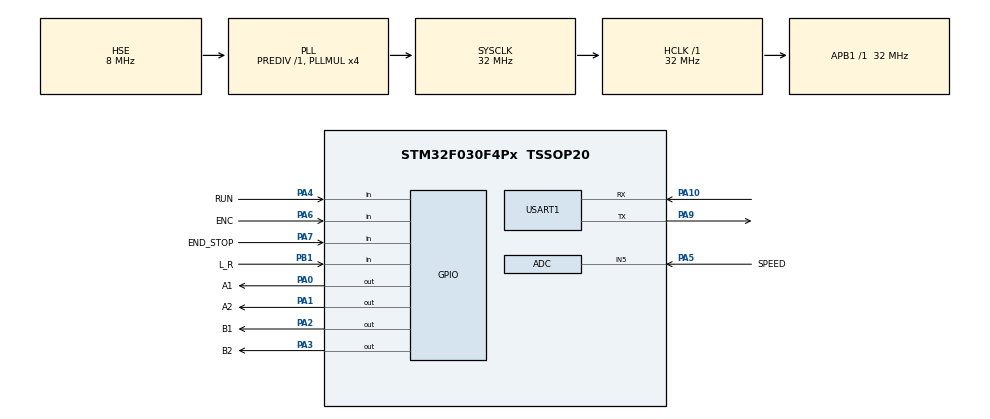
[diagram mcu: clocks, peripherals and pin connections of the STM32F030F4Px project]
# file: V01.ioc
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ADC.ClockPrescaler=ADC_CLOCK_ASYNC_DIV1
ADC.ContinuousConvMode=ENABLE
ADC.DMAContinuousRequests=DISABLE
ADC.DataAlign=ADC_DATAALIGN_RIGHT
ADC.DiscontinuousConvMode=DISABLE
ADC.EOCSelection=ADC_EOC_SINGLE_CONV
ADC.EnableAnalogWatchDog=false
ADC.ExternalTrigConvEdge=ADC_EXTERNALTRIGCONVEDGE_NONE
ADC.LowPowerAutoPowerOff=DISABLE
ADC.LowPowerAutoWait=DISABLE
ADC.Overrun=ADC_OVR_DATA_OVERWRITTEN
ADC.Resolution=ADC_RESOLUTION_12B
ADC.SamplingTime=ADC_SAMPLETIME_1CYCLE_5
ADC.ScanConvMode=ADC_SCAN_DIRECTION_FORWARD
Dma.ADC.0.Direction=DMA_PERIPH_TO_MEMORY
Dma.ADC.0.Instance=DMA1_Channel1
Dma.ADC.0.MemDataAlignment=DMA_MDATAALIGN_HALFWORD
Dma.ADC.0.MemInc=DMA_MINC_DISABLE
Dma.ADC.0.Mode=DMA_CIRCULAR
Dma.ADC.0.PeriphDataAlignment=DMA_PDATAALIGN_HALFWORD
Dma.ADC.0.PeriphInc=DMA_PINC_DISABLE
Dma.ADC.0.Priority=DMA_PRIORITY_LOW
Dma.Request0=ADC
Mcu.Family=STM32F0
Mcu.Name=STM32F030F4Px
Mcu.Package=TSSOP20
NVIC.DMA1_Channel1_IRQn=true\:0\:0\:false\:false\:true
PA0.GPIO_Label=A1
PA0.Signal=GPIO_Output
PA1.GPIO_Label=A2
PA1.Signal=GPIO_Output
PA10.Mode=Asynchronous
PA10.Signal=USART1_RX
PA13.Mode=Serial-WireDebug
PA13.Signal=SYS_SWDIO
PA14.Mode=Serial-WireDebug
PA14.Signal=SYS_SWCLK
PA2.GPIO_Label=B1
PA2.Signal=GPIO_Output
PA3.GPIO_Label=B2
PA3.Signal=GPIO_Output
PA4.GPIO_Label=RUN
PA4.Signal=GPIO_Input
PA5.GPIO_Label=SPEED
PA5.Mode=IN5
PA5.Signal=ADC_IN5
PA6.GPIO_Label=ENC
PA6.Signal=GPIO_Input
PA7.GPIO_Label=END_STOP
PA7.Signal=GPIO_Input
PA9.Mode=Asynchronous
PA9.Signal=USART1_TX
PB1.GPIO_Label=L_R
PB1.Signal=GPIO_Input
PF0-OSC_IN.Mode=HSE-External-Oscillator
PF0-OSC_IN.Signal=RCC_OSC_IN
PF1-OSC_OUT.Mode=HSE-External-Oscillator
PF1-OSC_OUT.Signal=RCC_OSC_OUT
ProjectManager.HeapSize=0x200
ProjectManager.StackSize=0x400
ProjectManager.TargetToolchain=SW4STM32
RCC.AHBFreq_Value=32000000
RCC.APB1Freq_Value=32000000
RCC.APB1TimFreq_Value=32000000
RCC.HCLKFreq_Value=32000000
RCC.HSIState=RCC_HSI_ON
RCC.PLLMUL=RCC_PLL_MUL4
RCC.PLLSourceVirtual=RCC_PLLSOURCE_HSE
RCC.SYSCLKFreq_VALUE=32000000
RCC.SYSCLKSource=RCC_SYSCLKSOURCE_PLLCLK
board=V01

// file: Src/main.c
/**
  ******************************************************************************
  * File Name          : main.c
  * Description        : Main program body
  ******************************************************************************
  *
  * COPYRIGHT(c) 2016 STMicroelectronics
  *
  * Redistribution and use in source and binary forms, with or without modification,
  * are permitted provided that the following conditions are met:
  *   1. Redistributions of source code must retain the above copyright notice,
  *      this list of conditions and the following disclaimer.
  *   2. Redistributions in binary form must reproduce the above copyright notice,
  *      this list of conditions and the following disclaimer in the documentation
  *      and/or other materials provided with the distribution.
  *   3. Neither the name of STMicroelectronics nor the names of its contributors
  *      may be used to endorse or promote products derived from this software
  *      without specific prior written permission.
  *
  * THIS SOFTWARE IS PROVIDED BY THE COPYRIGHT HOLDERS AND CONTRIBUTORS "AS IS"
  * AND ANY EXPRESS OR IMPLIED WARRANTIES, INCLUDING, BUT NOT LIMITED TO, THE
  * IMPLIED WARRANTIES OF MERCHANTABILITY AND FITNESS FOR A PARTICULAR PURPOSE ARE
  * DISCLAIMED. IN NO EVENT SHALL THE COPYRIGHT HOLDER OR CONTRIBUTORS BE LIABLE
  * FOR ANY DIRECT, INDIRECT, INCIDENTAL, SPECIAL, EXEMPLARY, OR CONSEQUENTIAL
  * DAMAGES (INCLUDING, BUT NOT LIMITED TO, PROCUREMENT OF SUBSTITUTE GOODS OR
  * SERVICES; LOSS OF USE, DATA, OR PROFITS; OR BUSINESS INTERRUPTION) HOWEVER
  * CAUSED AND ON ANY THEORY OF LIABILITY, WHETHER IN CONTRACT, STRICT LIABILITY,
  * OR TORT (INCLUDING NEGLIGENCE OR OTHERWISE) ARISING IN ANY WAY OUT OF THE USE
  * OF THIS SOFTWARE, EVEN IF ADVISED OF THE POSSIBILITY OF SUCH DAMAGE.
  *
  ******************************************************************************
  */
#include "stm32f0xx_hal.h"

ADC_HandleTypeDef hadc;
DMA_HandleTypeDef hdma_adc;

UART_HandleTypeDef huart1;

/* USER CODE BEGIN PV */
/* Private variables ---------------------------------------------------------*/

//MODE: 1 - manual, 2 - auto, DIRection 0 - left, 1 - right, POS - rotor position, STEP_ARR index
uint8_t MODE=1, DIR=0, POS=0, ADCReadCount;
uint32_t SPEED=0;
uint32_t DELAY, SPEED_ADC;

//8 positions of the rotor
static uint8_t STEP_ARR[10]={
0b0000,
0b1001,
0b0001,
0b0101,
0b0100,
0b0110,
0b0010,
0b1010,
0b1000,
0b1111
};

/* USER CODE END PV */

void SystemClock_Config(void);
void Error_Handler(void);
static void MX_GPIO_Init(void);
static void MX_DMA_Init(void);
static void MX_ADC_Init(void);
static void MX_USART1_UART_Init(void);

/* USER CODE BEGIN PFP */
/* Private function prototypes -----------------------------------------------*/

/* USER CODE END PFP */

int main(void)
{

  /* MCU Configuration----------------------------------------------------------*/

  /* Reset of all peripherals, Initializes the Flash interface and the Systick. */
  HAL_Init();

  /* Configure the system clock */
  SystemClock_Config();

  /* Initialize all configured peripherals */
  MX_GPIO_Init();
  MX_DMA_Init();
  MX_ADC_Init();
  MX_USART1_UART_Init();

  /* Infinite loop */
  while (1)
  {

  /* USER CODE BEGIN 3 */

// while button RUN is pushed

for (ADCReadCount = 0; ADCReadCount < 10; ADCReadCount++){
    HAL_ADC_Start_DMA(&hadc, &SPEED_ADC, 1);
    SPEED = SPEED + HAL_ADC_GetValue(&hadc);
    };
SPEED = SPEED/4000;
SPEED = SPEED*1000;

while (HAL_GPIO_ReadPin(GPIOA,GPIO_PIN_4) == 1 && HAL_GPIO_ReadPin(GPIOA,GPIO_PIN_7) == 1){

    DIR=HAL_GPIO_ReadPin(GPIOB,GPIO_PIN_1);

    if (SPEED < 200){ SPEED = 200; };
    GPIOA -> BRR = STEP_ARR[POS];
    if (DIR == 0){
	POS++;
    };

    if (DIR == 1){
	POS--;
    };
    if (POS == 0){
	POS = 8;
    };

    if (POS == 9){
	POS = 1;
    };
    GPIOA -> BSRR = STEP_ARR[POS];

    for (DELAY = 0; DELAY < 10000000; DELAY = DELAY + SPEED);
    SPEED = 0;
};

    GPIOA -> BRR = STEP_ARR[9];

  }
  /* USER CODE END 3 */

}

/** System Clock Configuration
*/
void SystemClock_Config(void)
{

  RCC_OscInitTypeDef RCC_OscInitStruct;
  RCC_ClkInitTypeDef RCC_ClkInitStruct;
  RCC_PeriphCLKInitTypeDef PeriphClkInit;

  RCC_OscInitStruct.OscillatorType = RCC_OSCILLATORTYPE_HSI14|RCC_OSCILLATORTYPE_HSE;
  RCC_OscInitStruct.HSEState = RCC_HSE_ON;
  RCC_OscInitStruct.HSI14State = RCC_HSI14_ON;
  RCC_OscInitStruct.HSI14CalibrationValue = 16;
  RCC_OscInitStruct.PLL.PLLState = RCC_PLL_ON;
  RCC_OscInitStruct.PLL.PLLSource = RCC_PLLSOURCE_HSE;
  RCC_OscInitStruct.PLL.PLLMUL = RCC_PLL_MUL4;
  RCC_OscInitStruct.PLL.PREDIV = RCC_PREDIV_DIV1;
  if (HAL_RCC_OscConfig(&RCC_OscInitStruct) != HAL_OK)
  {
    Error_Handler();
  }

  RCC_ClkInitStruct.ClockType = RCC_CLOCKTYPE_HCLK|RCC_CLOCKTYPE_SYSCLK
                              |RCC_CLOCKTYPE_PCLK1;
  RCC_ClkInitStruct.SYSCLKSource = RCC_SYSCLKSOURCE_PLLCLK;
  RCC_ClkInitStruct.AHBCLKDivider = RCC_SYSCLK_DIV1;
  RCC_ClkInitStruct.APB1CLKDivider = RCC_HCLK_DIV1;
  if (HAL_RCC_ClockConfig(&RCC_ClkInitStruct, FLASH_LATENCY_1) != HAL_OK)
  {
    Error_Handler();
  }

  PeriphClkInit.PeriphClockSelection = RCC_PERIPHCLK_USART1;
  PeriphClkInit.Usart1ClockSelection = RCC_USART1CLKSOURCE_PCLK1;
  if (HAL_RCCEx_PeriphCLKConfig(&PeriphClkInit) != HAL_OK)
  {
    Error_Handler();
  }

  HAL_SYSTICK_Config(HAL_RCC_GetHCLKFreq()/1000);

  HAL_SYSTICK_CLKSourceConfig(SYSTICK_CLKSOURCE_HCLK);

  /* SysTick_IRQn interrupt configuration */
  HAL_NVIC_SetPriority(SysTick_IRQn, 0, 0);
}

/* ADC init function */
static void MX_ADC_Init(void)
{

  ADC_ChannelConfTypeDef sConfig;

    /**Configure the global features of the ADC (Clock, Resolution, Data Alignment and number of conversion)
    */
  hadc.Instance = ADC1;
  hadc.Init.ClockPrescaler = ADC_CLOCK_ASYNC_DIV1;
  hadc.Init.Resolution = ADC_RESOLUTION_12B;
  hadc.Init.DataAlign = ADC_DATAALIGN_RIGHT;
  hadc.Init.ScanConvMode = ADC_SCAN_DIRECTION_FORWARD;
  hadc.Init.EOCSelection = ADC_EOC_SINGLE_CONV;
  hadc.Init.LowPowerAutoWait = DISABLE;
  hadc.Init.LowPowerAutoPowerOff = DISABLE;
  hadc.Init.ContinuousConvMode = ENABLE;
  hadc.Init.DiscontinuousConvMode = DISABLE;
  hadc.Init.ExternalTrigConvEdge = ADC_EXTERNALTRIGCONVEDGE_NONE;
  hadc.Init.DMAContinuousRequests = DISABLE;
  hadc.Init.Overrun = ADC_OVR_DATA_OVERWRITTEN;
  if (HAL_ADC_Init(&hadc) != HAL_OK)
  {
    Error_Handler();
  }

    /**Configure for the selected ADC regular channel to be converted.
    */
  sConfig.Channel = ADC_CHANNEL_5;
  sConfig.Rank = ADC_RANK_CHANNEL_NUMBER;
  sConfig.SamplingTime = ADC_SAMPLETIME_1CYCLE_5;
  if (HAL_ADC_ConfigChannel(&hadc, &sConfig) != HAL_OK)
  {
    Error_Handler();
  }

}

/* USART1 init function */
static void MX_USART1_UART_Init(void)
{

  huart1.Instance = USART1;
  huart1.Init.BaudRate = 38400;
  huart1.Init.WordLength = UART_WORDLENGTH_8B;
  huart1.Init.StopBits = UART_STOPBITS_1;
  huart1.Init.Parity = UART_PARITY_NONE;
  huart1.Init.Mode = UART_MODE_TX_RX;
  huart1.Init.HwFlowCtl = UART_HWCONTROL_NONE;
  huart1.Init.OverSampling = UART_OVERSAMPLING_16;
  huart1.Init.OneBitSampling = UART_ONE_BIT_SAMPLE_DISABLE;
  huart1.AdvancedInit.AdvFeatureInit = UART_ADVFEATURE_NO_INIT;
  if (HAL_UART_Init(&huart1) != HAL_OK)
  {
    Error_Handler();
  }

}

static void MX_DMA_Init(void)
{
  /* DMA controller clock enable */
  __HAL_RCC_DMA1_CLK_ENABLE();

  /* DMA interrupt init */
  /* DMA1_Channel1_IRQn interrupt configuration */
  HAL_NVIC_SetPriority(DMA1_Channel1_IRQn, 0, 0);
  HAL_NVIC_EnableIRQ(DMA1_Channel1_IRQn);

}

/** Configure pins as
        * Analog
        * Input
        * Output
        * EVENT_OUT
        * EXTI
*/
static void MX_GPIO_Init(void)
{

  GPIO_InitTypeDef GPIO_InitStruct;

  /* GPIO Ports Clock Enable */
  __HAL_RCC_GPIOF_CLK_ENABLE();
  __HAL_RCC_GPIOA_CLK_ENABLE();
  __HAL_RCC_GPIOB_CLK_ENABLE();

  /*Configure GPIO pin Output Level */
  HAL_GPIO_WritePin(GPIOA, A1_Pin|A2_Pin|B1_Pin|B2_Pin, GPIO_PIN_RESET);

  /*Configure GPIO pins : A1_Pin A2_Pin B1_Pin B2_Pin */
  GPIO_InitStruct.Pin = A1_Pin|A2_Pin|B1_Pin|B2_Pin;
  GPIO_InitStruct.Mode = GPIO_MODE_OUTPUT_PP;
  GPIO_InitStruct.Pull = GPIO_NOPULL;
  GPIO_InitStruct.Speed = GPIO_SPEED_FREQ_LOW;
  HAL_GPIO_Init(GPIOA, &GPIO_InitStruct);

  /*Configure GPIO pins : RUN_Pin ENC_Pin END_STOP_Pin */
  GPIO_InitStruct.Pin = RUN_Pin|ENC_Pin|END_STOP_Pin;
  GPIO_InitStruct.Mode = GPIO_MODE_INPUT;
  GPIO_InitStruct.Pull = GPIO_NOPULL;
  HAL_GPIO_Init(GPIOA, &GPIO_InitStruct);

  /*Configure GPIO pin : L_R_Pin */
  GPIO_InitStruct.Pin = L_R_Pin;
  GPIO_InitStruct.Mode = GPIO_MODE_INPUT;
  GPIO_InitStruct.Pull = GPIO_NOPULL;
  HAL_GPIO_Init(L_R_GPIO_Port, &GPIO_InitStruct);

}

void Error_Handler(void)
{
  while(1)
  {
  }
}

/************************ (C) COPYRIGHT STMicroelectronics *****END OF FILE****/
